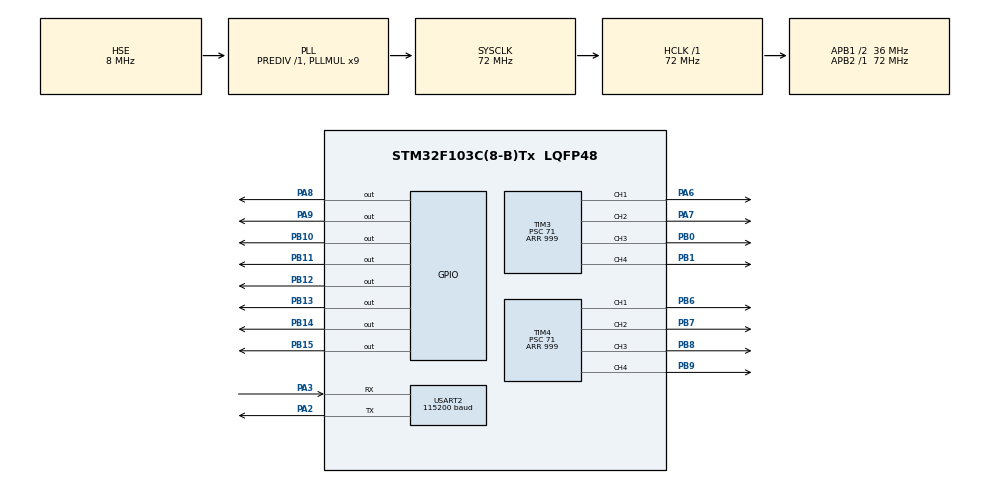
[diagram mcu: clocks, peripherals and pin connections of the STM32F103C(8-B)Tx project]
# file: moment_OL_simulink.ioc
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Mcu.Family=STM32F1
Mcu.Name=STM32F103C(8-B)Tx
Mcu.Package=LQFP48
NVIC.PriorityGroup=NVIC_PRIORITYGROUP_4
NVIC.USART2_IRQn=true\:0\:0\:false\:false\:true\:true\:true\:true
PA0-WKUP.Mode=SYS_WakeUp0
PA0-WKUP.Signal=SYS_WKUP
PA13.Mode=Serial_Wire
PA13.Signal=SYS_JTMS-SWDIO
PA14.Mode=Serial_Wire
PA14.Signal=SYS_JTCK-SWCLK
PA2.Mode=Asynchronous
PA2.Signal=USART2_TX
PA3.Mode=Asynchronous
PA3.Signal=USART2_RX
PA6.Signal=S_TIM3_CH1
PA7.Signal=S_TIM3_CH2
PA8.Signal=GPIO_Output
PA9.Signal=GPIO_Output
PB0.Signal=S_TIM3_CH3
PB1.Signal=S_TIM3_CH4
PB10.Signal=GPIO_Output
PB11.Signal=GPIO_Output
PB12.Signal=GPIO_Output
PB13.Signal=GPIO_Output
PB14.Signal=GPIO_Output
PB15.Signal=GPIO_Output
PB6.Signal=S_TIM4_CH1
PB7.Signal=S_TIM4_CH2
PB8.Signal=S_TIM4_CH3
PB9.Signal=S_TIM4_CH4
PD0-OSC_IN.Mode=HSE-External-Oscillator
PD0-OSC_IN.Signal=RCC_OSC_IN
PD1-OSC_OUT.Mode=HSE-External-Oscillator
PD1-OSC_OUT.Signal=RCC_OSC_OUT
ProjectManager.HeapSize=0x200
ProjectManager.StackSize=0x400
ProjectManager.TargetToolchain=STM32CubeIDE
RCC.AHBFreq_Value=72000000
RCC.APB1CLKDivider=RCC_HCLK_DIV2
RCC.APB1Freq_Value=36000000
RCC.APB1TimFreq_Value=72000000
RCC.APB2Freq_Value=72000000
RCC.APB2TimFreq_Value=72000000
RCC.HCLKFreq_Value=72000000
RCC.PLLMUL=RCC_PLL_MUL9
RCC.PLLSourceVirtual=RCC_PLLSOURCE_HSE
RCC.SYSCLKFreq_VALUE=72000000
RCC.SYSCLKSource=RCC_SYSCLKSOURCE_PLLCLK
RCC.USBFreq_Value=72000000
SH.S_TIM3_CH1.0=TIM3_CH1,PWM Generation1 CH1
SH.S_TIM3_CH2.0=TIM3_CH2,PWM Generation2 CH2
SH.S_TIM3_CH3.0=TIM3_CH3,PWM Generation3 CH3
SH.S_TIM3_CH4.0=TIM3_CH4,PWM Generation4 CH4
SH.S_TIM4_CH1.0=TIM4_CH1,PWM Generation1 CH1
SH.S_TIM4_CH2.0=TIM4_CH2,PWM Generation2 CH2
SH.S_TIM4_CH3.0=TIM4_CH3,PWM Generation3 CH3
SH.S_TIM4_CH4.0=TIM4_CH4,PWM Generation4 CH4
TIM3.Channel-PWM\ Generation1\ CH1=TIM_CHANNEL_1
TIM3.Channel-PWM\ Generation2\ CH2=TIM_CHANNEL_2
TIM3.Channel-PWM\ Generation3\ CH3=TIM_CHANNEL_3
TIM3.Channel-PWM\ Generation4\ CH4=TIM_CHANNEL_4
TIM3.Period=999
TIM3.Prescaler=71
TIM4.Channel-PWM\ Generation1\ CH1=TIM_CHANNEL_1
TIM4.Channel-PWM\ Generation2\ CH2=TIM_CHANNEL_2
TIM4.Channel-PWM\ Generation3\ CH3=TIM_CHANNEL_3
TIM4.Channel-PWM\ Generation4\ CH4=TIM_CHANNEL_4
TIM4.Period=999
TIM4.Prescaler=71
USART2.BaudRate=115200
USART2.VirtualMode=VM_ASYNC
board=custom

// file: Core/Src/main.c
/* USER CODE BEGIN Header */
/**
  ******************************************************************************
  * @file           : main.c
  * @brief          : Main program body
  ******************************************************************************
  * @attention
  *
  * Copyright (c) 2024 STMicroelectronics.
  * All rights reserved.
  *
  * This software is licensed under terms that can be found in the LICENSE file
  * in the root directory of this software component.
  * If no LICENSE file comes with this software, it is provided AS-IS.
  *
  ******************************************************************************
  */
/* USER CODE END Header */
#include "main.h"

/* USER CODE BEGIN Includes */
/*#include "moment_OL2_genC.h"
#include "rtw_continuous.h"
#include "rtw_solver.h"
#include "rtwtypes.h"*/

#include "stdio.h"
#include "stdlib.h"
#include "string.h"
/* USER CODE END Includes */

/* USER CODE BEGIN PTD */
uint8_t rxData[128];
int check = 0;
uint8_t rx_data_1[1];
float wheel_speed[4];
uint8_t rx_buffer[50];
uint8_t rx_index = 0;
uint8_t command;
float pwm[4];
/* USER CODE END PTD */

TIM_HandleTypeDef htim3;
TIM_HandleTypeDef htim4;

UART_HandleTypeDef huart2;

void SystemClock_Config(void);
static void MX_GPIO_Init(void);
static void MX_TIM3_Init(void);
static void MX_TIM4_Init(void);
static void MX_USART2_UART_Init(void);

/* USER CODE BEGIN 0 */
void PWM_3(int a, int b)
{
	if (a>0)
	{
	    __HAL_TIM_SetCompare(&htim3,TIM_CHANNEL_1,0);
	    __HAL_TIM_SetCompare(&htim3,TIM_CHANNEL_2,a);
	}
	else
	{
		__HAL_TIM_SetCompare(&htim3,TIM_CHANNEL_1,abs(a));
		__HAL_TIM_SetCompare(&htim3,TIM_CHANNEL_2,0);
	}
	if (b>0)
	{
		__HAL_TIM_SetCompare(&htim3,TIM_CHANNEL_3,0);
		__HAL_TIM_SetCompare(&htim3,TIM_CHANNEL_4,b);
    }
	else
	{
		__HAL_TIM_SetCompare(&htim3,TIM_CHANNEL_3,abs(b));
		__HAL_TIM_SetCompare(&htim3,TIM_CHANNEL_4,0);
	}
}
void PWM_4(int c, int d)
{
	if (c>0)
	{
	    __HAL_TIM_SetCompare(&htim4,TIM_CHANNEL_1,c);
	    __HAL_TIM_SetCompare(&htim4,TIM_CHANNEL_2,0);
	}
	else
	{
		__HAL_TIM_SetCompare(&htim4,TIM_CHANNEL_1,0);
		__HAL_TIM_SetCompare(&htim4,TIM_CHANNEL_2,abs(c));
	}
	if (d>0)
	{
		__HAL_TIM_SetCompare(&htim4,TIM_CHANNEL_3,d);
		__HAL_TIM_SetCompare(&htim4,TIM_CHANNEL_4,0);
	}
	else
	{
		__HAL_TIM_SetCompare(&htim4,TIM_CHANNEL_3,0);
		__HAL_TIM_SetCompare(&htim4,TIM_CHANNEL_4,abs(d));
	}
}
void HAL_UART_RxCpltCallback(UART_HandleTypeDef *huart)
{

	if(huart->Instance == huart2.Instance)
	{
	    if (rx_data_1[0] == '\n')
	    {
	        char *token;
	        int wheel_index = 0;
	        token = strtok((char *)rx_buffer, ";");
	        while (token != NULL && wheel_index < 4)
	        {
	            wheel_speed[wheel_index++] = atof(token);
	            token = strtok(NULL, ";");
	        }
	        command = rx_buffer[0];

	        /*for (int i = 0; i < 4; i++)
	        {
	            if (wheel_speed[i] > 3.1416)
	            {
	                wheel_speed[i] = 3.1416;
	            }

	            if (wheel_speed[i] < -3.1416)
	            {
	                wheel_speed[i] = -3.1416;
	            }
	        }*/

	        pwm[0] = (wheel_speed[0]/11.5192)*999;
	        pwm[1] = (wheel_speed[1]/11.5192)*999;
	        pwm[2] = (wheel_speed[2]/11.5192)*999;
	        pwm[3] = (wheel_speed[3]/11.5192)*999;
	        PWM_3((int)pwm[0],(int)pwm[3]);
	        PWM_4((int)pwm[1],(int)pwm[2]);
	        //HAL_UART_Transmit(&huart2, (uint8_t *)wheel_speed, sizeof(wheel_speed), HAL_MAX_DELAY);
	        memset(rx_buffer, 0, 50);
	        rx_index = 0;
	        HAL_UART_Receive_IT(&huart2, rx_data_1, 1);
	    }
	    else
	    {
	        rx_buffer[rx_index++] = rx_data_1[0];
	        HAL_UART_Receive_IT(&huart2, rx_data_1, 1);
	    }

	    if (command == 'f')
	    {
	    	PWM_3(200,200);
	    	PWM_4(200,200);
	    	HAL_UART_Receive_IT(&huart2, rx_data_1, 1);
	    }
	    else if (command == 'b')
	    {
	    	PWM_3(-200,-200);
	    	PWM_4(-200,-200);
	    	HAL_UART_Receive_IT(&huart2, rx_data_1, 1);
	    }
	    else if (command == 'l')
	    {
	    	PWM_3(-200,200);
	    	PWM_4(200,-200);
	    	HAL_UART_Receive_IT(&huart2, rx_data_1, 1);
	    }
	    else if (command == 'r')
	    {
	    	PWM_3(200,-200);
	    	PWM_4(-200,200);
	    	HAL_UART_Receive_IT(&huart2, rx_data_1, 1);
	    }
	    else if (command == 's')
	    {
	    	PWM_3(0,0);
	    	PWM_4(0,0);
	    	HAL_UART_Receive_IT(&huart2, rx_data_1, 1);
	    }
	    else if (command == 'a')
	    {
	    	PWM_3(0,200);
	    	PWM_4(200,0);
	    	HAL_UART_Receive_IT(&huart2, rx_data_1, 1);
	    }
	    else if (command == 'c')
	    {
	    	PWM_3(200,0);
	    	PWM_4(0,200);
	    	HAL_UART_Receive_IT(&huart2, rx_data_1, 1);
	    }
	    else if (command == 'd')
	    {
	    	PWM_3(-200,0);
	    	PWM_4(0,-200);
	    	HAL_UART_Receive_IT(&huart2, rx_data_1, 1);
	    }
	    else if (command == 'e')
	    {
	    	PWM_3(0,-200);
	    	PWM_4(-200,0);
	    	HAL_UART_Receive_IT(&huart2, rx_data_1, 1);
	    }
	    else if (command == 'g')
	    {
	    	PWM_3(-200,-200);
	    	PWM_4(200,200);
	    	HAL_UART_Receive_IT(&huart2, rx_data_1, 1);
	    }
	    else if (command == 'h')
	    {
	    	PWM_3(200,200);
	    	PWM_4(-200,-200);
	    	HAL_UART_Receive_IT(&huart2, rx_data_1, 1);
	    }

        /*switch (command) {
            case 'f':
                PWM_3(500,500);
                PWM_4(500,500);
                //check++;
                break;
            case 'b':
        	    PWM_3(-500,-500);
        	    PWM_4(-500,-500);
                break;
            case 'l':
        	    PWM_3(500,-500);
        	    PWM_4(-500,500);
                break;
            case 'r':
        	    PWM_3(-500,500);
        	    PWM_4(500,-500);
                break;
            case 's':
        	    PWM_3(0,0);
        	    PWM_4(0,0);
                break;
            default:
        	    PWM_3(0,0);
        	    PWM_4(0,0);
                break;
        }
        HAL_UART_Receive_IT(&huart2, &rx_data_1, 1);*/
	}

}
/* USER CODE END 0 */

int main(void)
{

  /* USER CODE BEGIN 1 */
//moment_OL2_genC_initialize();
  /* USER CODE END 1 */

  /* MCU Configuration--------------------------------------------------------*/

  /* Reset of all peripherals, Initializes the Flash interface and the Systick. */
  HAL_Init();

  /* Configure the system clock */
  SystemClock_Config();

  /* Initialize all configured peripherals */
  MX_GPIO_Init();
  MX_TIM3_Init();
  MX_TIM4_Init();
  MX_USART2_UART_Init();
  /* USER CODE BEGIN 2 */
  HAL_TIM_PWM_Start(&htim3,TIM_CHANNEL_1);
  HAL_TIM_PWM_Start(&htim3,TIM_CHANNEL_2);
  HAL_TIM_PWM_Start(&htim3,TIM_CHANNEL_3);
  HAL_TIM_PWM_Start(&htim3,TIM_CHANNEL_4);
  HAL_TIM_PWM_Start(&htim4,TIM_CHANNEL_1);
  HAL_TIM_PWM_Start(&htim4,TIM_CHANNEL_2);
  HAL_TIM_PWM_Start(&htim4,TIM_CHANNEL_3);
  HAL_TIM_PWM_Start(&htim4,TIM_CHANNEL_4);

  HAL_GPIO_WritePin(GPIOB, GPIO_PIN_10, SET);
  HAL_GPIO_WritePin(GPIOB, GPIO_PIN_11, SET);
  HAL_GPIO_WritePin(GPIOB, GPIO_PIN_12, SET);
  HAL_GPIO_WritePin(GPIOB, GPIO_PIN_13, SET);
  HAL_GPIO_WritePin(GPIOB, GPIO_PIN_14, SET);
  HAL_GPIO_WritePin(GPIOB, GPIO_PIN_15, SET);
  HAL_GPIO_WritePin(GPIOA, GPIO_PIN_8, SET);
  HAL_GPIO_WritePin(GPIOA, GPIO_PIN_9, SET);

  HAL_UART_Receive_IT(&huart2, rx_data_1, 1);

  /* USER CODE END 2 */

  /* Infinite loop */
  while (1)
  {

  }
}

void SystemClock_Config(void)
{
  RCC_OscInitTypeDef RCC_OscInitStruct = {0};
  RCC_ClkInitTypeDef RCC_ClkInitStruct = {0};

  /** Initializes the RCC Oscillators according to the specified parameters
  * in the RCC_OscInitTypeDef structure.
  */
  RCC_OscInitStruct.OscillatorType = RCC_OSCILLATORTYPE_HSE;
  RCC_OscInitStruct.HSEState = RCC_HSE_ON;
  RCC_OscInitStruct.HSEPredivValue = RCC_HSE_PREDIV_DIV1;
  RCC_OscInitStruct.HSIState = RCC_HSI_ON;
  RCC_OscInitStruct.PLL.PLLState = RCC_PLL_ON;
  RCC_OscInitStruct.PLL.PLLSource = RCC_PLLSOURCE_HSE;
  RCC_OscInitStruct.PLL.PLLMUL = RCC_PLL_MUL9;
  if (HAL_RCC_OscConfig(&RCC_OscInitStruct) != HAL_OK)
  {
    Error_Handler();
  }

  /** Initializes the CPU, AHB and APB buses clocks
  */
  RCC_ClkInitStruct.ClockType = RCC_CLOCKTYPE_HCLK|RCC_CLOCKTYPE_SYSCLK
                              |RCC_CLOCKTYPE_PCLK1|RCC_CLOCKTYPE_PCLK2;
  RCC_ClkInitStruct.SYSCLKSource = RCC_SYSCLKSOURCE_PLLCLK;
  RCC_ClkInitStruct.AHBCLKDivider = RCC_SYSCLK_DIV1;
  RCC_ClkInitStruct.APB1CLKDivider = RCC_HCLK_DIV2;
  RCC_ClkInitStruct.APB2CLKDivider = RCC_HCLK_DIV1;

  if (HAL_RCC_ClockConfig(&RCC_ClkInitStruct, FLASH_LATENCY_2) != HAL_OK)
  {
    Error_Handler();
  }
}

static void MX_TIM3_Init(void)
{

  TIM_MasterConfigTypeDef sMasterConfig = {0};
  TIM_OC_InitTypeDef sConfigOC = {0};

  htim3.Instance = TIM3;
  htim3.Init.Prescaler = 71;
  htim3.Init.CounterMode = TIM_COUNTERMODE_UP;
  htim3.Init.Period = 999;
  htim3.Init.ClockDivision = TIM_CLOCKDIVISION_DIV1;
  htim3.Init.AutoReloadPreload = TIM_AUTORELOAD_PRELOAD_DISABLE;
  if (HAL_TIM_PWM_Init(&htim3) != HAL_OK)
  {
    Error_Handler();
  }
  sMasterConfig.MasterOutputTrigger = TIM_TRGO_RESET;
  sMasterConfig.MasterSlaveMode = TIM_MASTERSLAVEMODE_DISABLE;
  if (HAL_TIMEx_MasterConfigSynchronization(&htim3, &sMasterConfig) != HAL_OK)
  {
    Error_Handler();
  }
  sConfigOC.OCMode = TIM_OCMODE_PWM1;
  sConfigOC.Pulse = 0;
  sConfigOC.OCPolarity = TIM_OCPOLARITY_HIGH;
  sConfigOC.OCFastMode = TIM_OCFAST_DISABLE;
  if (HAL_TIM_PWM_ConfigChannel(&htim3, &sConfigOC, TIM_CHANNEL_1) != HAL_OK)
  {
    Error_Handler();
  }
  if (HAL_TIM_PWM_ConfigChannel(&htim3, &sConfigOC, TIM_CHANNEL_2) != HAL_OK)
  {
    Error_Handler();
  }
  if (HAL_TIM_PWM_ConfigChannel(&htim3, &sConfigOC, TIM_CHANNEL_3) != HAL_OK)
  {
    Error_Handler();
  }
  if (HAL_TIM_PWM_ConfigChannel(&htim3, &sConfigOC, TIM_CHANNEL_4) != HAL_OK)
  {
    Error_Handler();
  }
  HAL_TIM_MspPostInit(&htim3);

}

static void MX_TIM4_Init(void)
{

  TIM_MasterConfigTypeDef sMasterConfig = {0};
  TIM_OC_InitTypeDef sConfigOC = {0};

  htim4.Instance = TIM4;
  htim4.Init.Prescaler = 71;
  htim4.Init.CounterMode = TIM_COUNTERMODE_UP;
  htim4.Init.Period = 999;
  htim4.Init.ClockDivision = TIM_CLOCKDIVISION_DIV1;
  htim4.Init.AutoReloadPreload = TIM_AUTORELOAD_PRELOAD_DISABLE;
  if (HAL_TIM_PWM_Init(&htim4) != HAL_OK)
  {
    Error_Handler();
  }
  sMasterConfig.MasterOutputTrigger = TIM_TRGO_RESET;
  sMasterConfig.MasterSlaveMode = TIM_MASTERSLAVEMODE_DISABLE;
  if (HAL_TIMEx_MasterConfigSynchronization(&htim4, &sMasterConfig) != HAL_OK)
  {
    Error_Handler();
  }
  sConfigOC.OCMode = TIM_OCMODE_PWM1;
  sConfigOC.Pulse = 0;
  sConfigOC.OCPolarity = TIM_OCPOLARITY_HIGH;
  sConfigOC.OCFastMode = TIM_OCFAST_DISABLE;
  if (HAL_TIM_PWM_ConfigChannel(&htim4, &sConfigOC, TIM_CHANNEL_1) != HAL_OK)
  {
    Error_Handler();
  }
  if (HAL_TIM_PWM_ConfigChannel(&htim4, &sConfigOC, TIM_CHANNEL_2) != HAL_OK)
  {
    Error_Handler();
  }
  if (HAL_TIM_PWM_ConfigChannel(&htim4, &sConfigOC, TIM_CHANNEL_3) != HAL_OK)
  {
    Error_Handler();
  }
  if (HAL_TIM_PWM_ConfigChannel(&htim4, &sConfigOC, TIM_CHANNEL_4) != HAL_OK)
  {
    Error_Handler();
  }
  HAL_TIM_MspPostInit(&htim4);

}

static void MX_USART2_UART_Init(void)
{

  huart2.Instance = USART2;
  huart2.Init.BaudRate = 115200;
  huart2.Init.WordLength = UART_WORDLENGTH_8B;
  huart2.Init.StopBits = UART_STOPBITS_1;
  huart2.Init.Parity = UART_PARITY_NONE;
  huart2.Init.Mode = UART_MODE_TX_RX;
  huart2.Init.HwFlowCtl = UART_HWCONTROL_NONE;
  huart2.Init.OverSampling = UART_OVERSAMPLING_16;
  if (HAL_UART_Init(&huart2) != HAL_OK)
  {
    Error_Handler();
  }

}

static void MX_GPIO_Init(void)
{
  GPIO_InitTypeDef GPIO_InitStruct = {0};

  /* GPIO Ports Clock Enable */
  __HAL_RCC_GPIOD_CLK_ENABLE();
  __HAL_RCC_GPIOA_CLK_ENABLE();
  __HAL_RCC_GPIOB_CLK_ENABLE();

  /*Configure GPIO pin Output Level */
  HAL_GPIO_WritePin(GPIOB, GPIO_PIN_10|GPIO_PIN_11|GPIO_PIN_12|GPIO_PIN_13
                          |GPIO_PIN_14|GPIO_PIN_15, GPIO_PIN_RESET);

  /*Configure GPIO pin Output Level */
  HAL_GPIO_WritePin(GPIOA, GPIO_PIN_8|GPIO_PIN_9, GPIO_PIN_RESET);

  /*Configure GPIO pins : PB10 PB11 PB12 PB13
                           PB14 PB15 */
  GPIO_InitStruct.Pin = GPIO_PIN_10|GPIO_PIN_11|GPIO_PIN_12|GPIO_PIN_13
                          |GPIO_PIN_14|GPIO_PIN_15;
  GPIO_InitStruct.Mode = GPIO_MODE_OUTPUT_PP;
  GPIO_InitStruct.Pull = GPIO_NOPULL;
  GPIO_InitStruct.Speed = GPIO_SPEED_FREQ_LOW;
  HAL_GPIO_Init(GPIOB, &GPIO_InitStruct);

  /*Configure GPIO pins : PA8 PA9 */
  GPIO_InitStruct.Pin = GPIO_PIN_8|GPIO_PIN_9;
  GPIO_InitStruct.Mode = GPIO_MODE_OUTPUT_PP;
  GPIO_InitStruct.Pull = GPIO_NOPULL;
  GPIO_InitStruct.Speed = GPIO_SPEED_FREQ_LOW;
  HAL_GPIO_Init(GPIOA, &GPIO_InitStruct);

}

void Error_Handler(void)
{
  __disable_irq();
  while (1)
  {
  }
}
